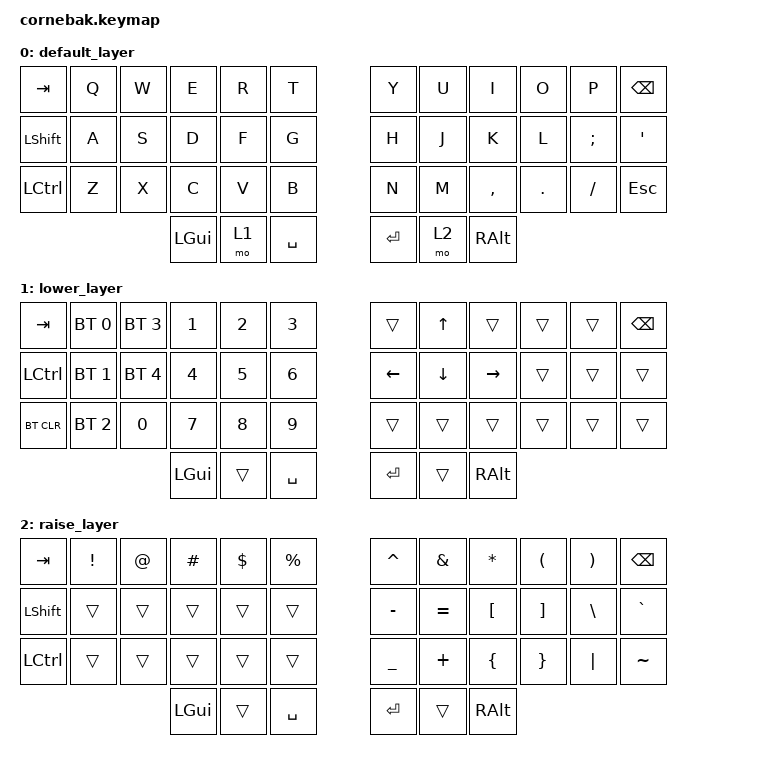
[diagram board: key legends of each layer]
/*
 * Copyright (c) 2020 The ZMK Contributors
 *
 * SPDX-License-Identifier: MIT
 */

#include <behaviors.dtsi>
#include <dt-bindings/zmk/keys.h>
#include <dt-bindings/zmk/bt.h>

/ {
        keymap {
                compatible = "zmk,keymap";

                default_layer {
// -----------------------------------------------------------------------------------------
// |  TAB |  Q  |  W  |  E  |  R  |  T  |   |  Y  |  U   |  I  |  O  |  P  | BSPC |
// | SHFT |  A  |  S  |  D  |  F  |  G  |   |  H  |  J   |  K  |  L  |  ;  |  '   |
// | CTRL |  Z  |  X  |  C  |  V  |  B  |   |  N  |  M   |  ,  |  .  |  /  | ESC  |
//                    | GUI | LWR | SPC |   | ENT | RSE  | ALT |
                        bindings = <
   &kp TAB   &kp Q &kp W &kp E &kp R &kp T   &kp Y &kp U  &kp I     &kp O   &kp P    &kp BSPC
   &kp LSHFT &kp A &kp S &kp D &kp F &kp G   &kp H &kp J  &kp K     &kp L   &kp SEMI &kp SQT
   &kp LCTRL &kp Z &kp X &kp C &kp V &kp B   &kp N &kp M  &kp COMMA &kp DOT &kp FSLH &kp ESC
                  &kp LGUI &mo 1 &kp SPACE   &kp RET &mo 2 &kp RALT
                        >;
                };
                lower_layer {
// -----------------------------------------------------------------------------------------
// |  TAB | BT1 | BT4 |  1  |  2  |  3  |   |     |  UP |     |     |     | BSPC |
// | BTCLR| BT2 | BT5 |  4  |  5  |  6  |   | LFT | DWN | RGT |     |     |      |
// | SHFT | BT3 |  0  |  7  |  8  |  9  |   |     |     |     |     |     |      |
//                    | GUI |     | SPC |   | ENT |     | ALT |
                        bindings = <
   &kp TAB    &bt BT_SEL 0 &bt BT_SEL 3 &kp N1 &kp N2 &kp N3    &trans    &kp UP    &trans    &trans    &trans    &kp BSPC
   &kp LCTRL &bt BT_SEL 1 &bt BT_SEL 4 &kp N4 &kp N5 &kp N6     &kp LEFT  &kp DOWN  &kp RIGHT &trans    &trans    &trans
   &bt BT_CLR  &bt BT_SEL 2 &kp N0     &kp N7 &kp N8 &kp N9     &trans    &trans    &trans    &trans    &trans    &trans
   &kp LGUI   &trans       &kp SPACE                            &kp RET   &trans    &kp RALT
                        >;
                };

                raise_layer {
// -----------------------------------------------------------------------------------------
// |  TAB |  !  |  @  |  #  |  $  |  %  |   |  ^  |  &  |  *  |  (  |  )  | BSPC |
// | CTRL |     |     |     |     |     |   |  -  |  =  |  [  |  ]  |  \  |  `   |
// | SHFT |     |     |     |     |     |   |  _  |  +  |  {  |  }  | "|" |  ~   |
//                    | GUI |     | SPC |   | ENT |     | ALT |
                        bindings = <
   &kp  TAB  &kp EXCL &kp AT &kp HASH &kp DLLR &kp PRCNT   &kp CARET &kp AMPS  &kp ASTRK &kp LPAR &kp RPAR &kp BSPC
   &kp LSHFT &trans   &trans &trans   &trans   &trans      &kp MINUS &kp EQUAL &kp LBKT  &kp RBKT &kp BSLH &kp GRAVE
   &kp LCTRL &trans   &trans &trans   &trans   &trans      &kp UNDER &kp PLUS  &kp LBRC  &kp RBRC &kp PIPE &kp TILDE
                             &kp LGUI &trans   &kp SPACE   &kp RET   &trans    &kp RALT
                        >;
                };
        };
};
